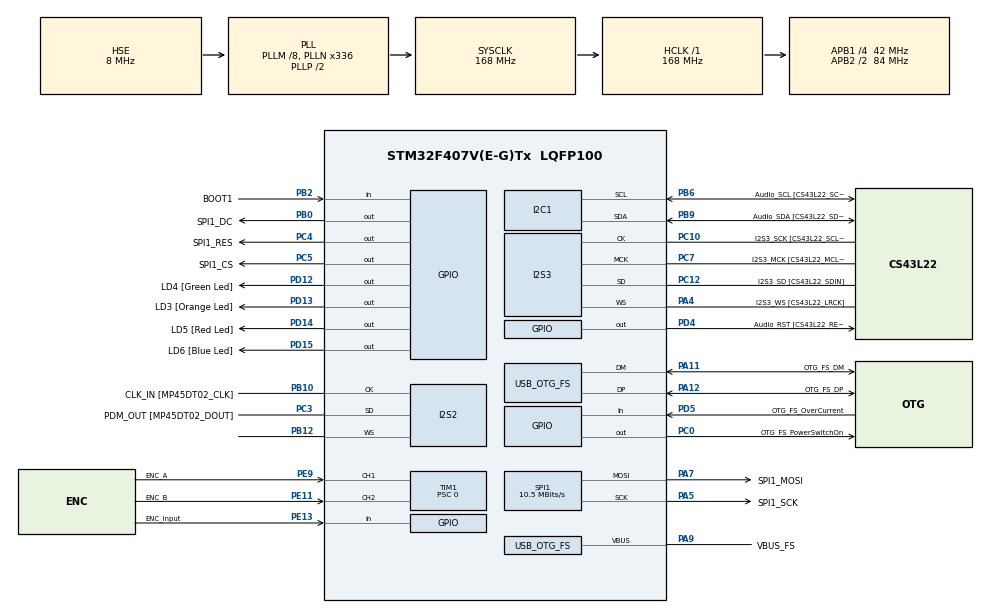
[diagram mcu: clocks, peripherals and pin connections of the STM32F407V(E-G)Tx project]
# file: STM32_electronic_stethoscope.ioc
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Dma.Request0=SPI2_RX
Dma.Request1=SPI3_TX
Dma.SPI2_RX.0.Direction=DMA_PERIPH_TO_MEMORY
Dma.SPI2_RX.0.FIFOMode=DMA_FIFOMODE_DISABLE
Dma.SPI2_RX.0.Instance=DMA1_Stream3
Dma.SPI2_RX.0.MemDataAlignment=DMA_MDATAALIGN_HALFWORD
Dma.SPI2_RX.0.MemInc=DMA_MINC_ENABLE
Dma.SPI2_RX.0.Mode=DMA_CIRCULAR
Dma.SPI2_RX.0.PeriphDataAlignment=DMA_PDATAALIGN_HALFWORD
Dma.SPI2_RX.0.PeriphInc=DMA_PINC_DISABLE
Dma.SPI2_RX.0.Priority=DMA_PRIORITY_VERY_HIGH
Dma.SPI3_TX.1.Direction=DMA_MEMORY_TO_PERIPH
Dma.SPI3_TX.1.FIFOMode=DMA_FIFOMODE_DISABLE
Dma.SPI3_TX.1.Instance=DMA1_Stream5
Dma.SPI3_TX.1.MemDataAlignment=DMA_MDATAALIGN_HALFWORD
Dma.SPI3_TX.1.MemInc=DMA_MINC_ENABLE
Dma.SPI3_TX.1.Mode=DMA_CIRCULAR
Dma.SPI3_TX.1.PeriphDataAlignment=DMA_PDATAALIGN_HALFWORD
Dma.SPI3_TX.1.PeriphInc=DMA_PINC_DISABLE
Dma.SPI3_TX.1.Priority=DMA_PRIORITY_HIGH
FATFS._FS_EXFAT=1
FATFS._MAX_SS=4096
FATFS._USE_LFN=1
I2S2.AudioFreq=I2S_AUDIOFREQ_32K
I2S2.CPOL=I2S_CPOL_HIGH
I2S2.DataFormat=I2S_DATAFORMAT_16B
I2S2.ErrorAudioFreq=-0.26 %
I2S2.FullDuplexMode=I2S_FULLDUPLEXMODE_DISABLE
I2S2.Instance=SPI$Index
I2S2.Mode=I2S_MODE_MASTER_RX
I2S2.RealAudioFreq=31.914 KHz
I2S2.Standard=I2S_STANDARD_LSB
I2S2.VirtualMode=I2S_MODE_MASTER
I2S3.AudioFreq=I2S_AUDIOFREQ_16K
I2S3.DataFormat=I2S_DATAFORMAT_16B
I2S3.ErrorAudioFreq=1.9 %
I2S3.FullDuplexMode=I2S_FULLDUPLEXMODE_DISABLE
I2S3.Instance=SPI$Index
I2S3.RealAudioFreq=16.304 KHz
I2S3.VirtualMode=I2S_MODE_MASTER
Mcu.Family=STM32F4
Mcu.Name=STM32F407V(E-G)Tx
Mcu.Package=LQFP100
NVIC.DMA1_Stream3_IRQn=true\:0\:0\:false\:false\:true\:false\:true\:true
NVIC.DMA1_Stream5_IRQn=true\:0\:0\:false\:false\:true\:false\:true\:true
NVIC.OTG_FS_IRQn=true\:0\:0\:false\:false\:true\:true\:true\:true
NVIC.PriorityGroup=NVIC_PRIORITYGROUP_0
PA10.GPIO_Label=OTG_FS_ID
PA10.GPIO_Mode=GPIO_MODE_AF_PP
PA10.GPIO_PuPd=GPIO_NOPULL
PA10.GPIO_Speed=GPIO_SPEED_FREQ_LOW
PA10.Signal=USB_OTG_FS_ID
PA11.GPIO_Label=OTG_FS_DM
PA11.GPIO_Mode=GPIO_MODE_AF_PP
PA11.GPIO_PuPd=GPIO_NOPULL
PA11.GPIO_Speed=GPIO_SPEED_FREQ_LOW
PA11.Mode=Host_Only
PA11.Signal=USB_OTG_FS_DM
PA12.GPIO_Label=OTG_FS_DP
PA12.GPIO_Mode=GPIO_MODE_AF_PP
PA12.GPIO_PuPd=GPIO_NOPULL
PA12.GPIO_Speed=GPIO_SPEED_FREQ_LOW
PA12.Mode=Host_Only
PA12.Signal=USB_OTG_FS_DP
PA13.GPIO_Label=SWDIO
PA13.Mode=Serial_Wire
PA13.Signal=SYS_JTMS-SWDIO
PA14.GPIO_Label=SWCLK
PA14.Mode=Serial_Wire
PA14.Signal=SYS_JTCK-SWCLK
PA4.GPIO_Label=I2S3_WS [CS43L22_LRCK]
PA4.GPIO_Mode=GPIO_MODE_AF_PP
PA4.GPIO_PuPd=GPIO_NOPULL
PA4.GPIO_Speed=GPIO_SPEED_FREQ_LOW
PA4.Mode=Half_Duplex_Master
PA4.Signal=I2S3_WS
PA5.GPIO_Label=SPI1_SCK 
PA5.GPIO_Mode=GPIO_MODE_AF_PP
PA5.GPIO_PuPd=GPIO_NOPULL
PA5.GPIO_Speed=GPIO_SPEED_FREQ_HIGH
PA5.Mode=TX_Only_Simplex_Unidirect_Master
PA5.Signal=SPI1_SCK
PA6.GPIO_Label=SPI1_MISO 
PA6.GPIO_Mode=GPIO_MODE_AF_PP
PA6.GPIO_PuPd=GPIO_NOPULL
PA6.GPIO_Speed=GPIO_SPEED_FREQ_HIGH
PA6.Signal=SPI1_MISO
PA7.GPIO_Label=SPI1_MOSI 
PA7.GPIO_Mode=GPIO_MODE_AF_PP
PA7.GPIO_PuPd=GPIO_NOPULL
PA7.GPIO_Speed=GPIO_SPEED_FREQ_HIGH
PA7.Mode=TX_Only_Simplex_Unidirect_Master
PA7.Signal=SPI1_MOSI
PA9.GPIO_Label=VBUS_FS
PA9.GPIO_Mode=GPIO_MODE_INPUT
PA9.GPIO_PuPd=GPIO_NOPULL
PA9.Mode=Activate_VBUS
PA9.Signal=USB_OTG_FS_VBUS
PB0.GPIO_Label=SPI1_DC
PB0.Signal=GPIO_Output
PB10.GPIO_Label=CLK_IN [MP45DT02_CLK]
PB10.GPIO_Mode=GPIO_MODE_AF_PP
PB10.GPIO_PuPd=GPIO_NOPULL
PB10.GPIO_Speed=GPIO_SPEED_FREQ_HIGH
PB10.Mode=Half_Duplex_Master
PB10.Signal=I2S2_CK
PB12.GPIO_Speed=GPIO_SPEED_FREQ_HIGH
PB12.Mode=Half_Duplex_Master
PB12.Signal=I2S2_WS
PB2.GPIO_Label=BOOT1
PB2.GPIO_Mode=GPIO_MODE_INPUT
PB2.GPIO_PuPd=GPIO_NOPULL
PB2.Signal=GPIO_Input
PB3.GPIO_Label=SWO
PB3.Signal=SYS_JTDO-SWO
PB6.GPIO_Label=Audio_SCL [CS43L22_SCL]
PB6.GPIO_Mode=GPIO_MODE_AF_OD
PB6.GPIO_Pu=GPIO_PULLUP
PB6.GPIO_PuPd=GPIO_NOPULL
PB6.GPIO_Speed=GPIO_SPEED_FREQ_LOW
PB6.Mode=I2C
PB6.Signal=I2C1_SCL
PB9.GPIO_Label=Audio_SDA [CS43L22_SDA]
PB9.GPIO_Mode=GPIO_MODE_AF_OD
PB9.GPIO_Pu=GPIO_PULLUP
PB9.GPIO_PuPd=GPIO_NOPULL
PB9.GPIO_Speed=GPIO_SPEED_FREQ_LOW
PB9.Mode=I2C
PB9.Signal=I2C1_SDA
PC0.GPIO_Label=OTG_FS_PowerSwitchOn
PC0.GPIO_PuPd=GPIO_NOPULL
PC0.GPIO_Speed=GPIO_SPEED_FREQ_LOW
PC0.PinState=GPIO_PIN_RESET
PC0.Signal=GPIO_Output
PC10.GPIO_Label=I2S3_SCK [CS43L22_SCLK]
PC10.GPIO_Mode=GPIO_MODE_AF_PP
PC10.GPIO_PuPd=GPIO_NOPULL
PC10.GPIO_Speed=GPIO_SPEED_FREQ_LOW
PC10.Mode=Half_Duplex_Master
PC10.Signal=I2S3_CK
PC12.GPIO_Label=I2S3_SD [CS43L22_SDIN]
PC12.GPIO_Mode=GPIO_MODE_AF_PP
PC12.GPIO_PuPd=GPIO_NOPULL
PC12.GPIO_Speed=GPIO_SPEED_FREQ_LOW
PC12.Mode=Half_Duplex_Master
PC12.Signal=I2S3_SD
PC14-OSC32_IN.GPIO_Label=PC14-OSC32_IN
PC14-OSC32_IN.Mode=LSE-External-Oscillator
PC14-OSC32_IN.Signal=RCC_OSC32_IN
PC15-OSC32_OUT.GPIO_Label=PC15-OSC32_OUT
PC15-OSC32_OUT.Mode=LSE-External-Oscillator
PC15-OSC32_OUT.Signal=RCC_OSC32_OUT
PC3.GPIO_Label=PDM_OUT [MP45DT02_DOUT]
PC3.GPIO_Mode=GPIO_MODE_AF_PP
PC3.GPIO_PuPd=GPIO_NOPULL
PC3.GPIO_Speed=GPIO_SPEED_FREQ_HIGH
PC3.Mode=Half_Duplex_Master
PC3.Signal=I2S2_SD
PC4.GPIO_Label=SPI1_RES
PC4.Signal=GPIO_Output
PC5.GPIO_Label=SPI1_CS
PC5.Signal=GPIO_Output
PC7.GPIO_Label=I2S3_MCK [CS43L22_MCLK]
PC7.GPIO_Mode=GPIO_MODE_AF_PP
PC7.GPIO_PuPd=GPIO_NOPULL
PC7.GPIO_Speed=GPIO_SPEED_FREQ_LOW
PC7.Mode=Master_Clock_Activated
PC7.Signal=I2S3_MCK
PD12.GPIO_Label=LD4 [Green Led]
PD12.GPIO_PuPd=GPIO_NOPULL
PD12.GPIO_Speed=GPIO_SPEED_FREQ_LOW
PD12.Signal=GPIO_Output
PD13.GPIO_Label=LD3 [Orange Led]
PD13.GPIO_PuPd=GPIO_NOPULL
PD13.GPIO_Speed=GPIO_SPEED_FREQ_LOW
PD13.Signal=GPIO_Output
PD14.GPIO_Label=LD5 [Red Led]
PD14.GPIO_PuPd=GPIO_NOPULL
PD14.GPIO_Speed=GPIO_SPEED_FREQ_LOW
PD14.Signal=GPIO_Output
PD15.GPIO_Label=LD6 [Blue Led]
PD15.GPIO_PuPd=GPIO_NOPULL
PD15.GPIO_Speed=GPIO_SPEED_FREQ_LOW
PD15.Signal=GPIO_Output
PD4.GPIO_Label=Audio_RST [CS43L22_RESET]
PD4.GPIO_PuPd=GPIO_NOPULL
PD4.GPIO_Speed=GPIO_SPEED_FREQ_LOW
PD4.Signal=GPIO_Output
PD5.GPIO_Label=OTG_FS_OverCurrent
PD5.GPIO_Mode=GPIO_MODE_INPUT
PD5.GPIO_PuPd=GPIO_NOPULL
PD5.Signal=GPIO_Input
PDM2PCM.CHANNEL1_in_ptr_channels=1
PDM2PCM.CHANNEL1_out_ptr_channels=1
PE11.GPIO_Label=ENC_B
PE11.Signal=S_TIM1_CH2
PE13.GPIO_Label=ENC_Input
PE13.Signal=GPIO_Input
PE9.GPIO_Label=ENC_A
PE9.Signal=S_TIM1_CH1
PH0-OSC_IN.GPIO_Label=PH0-OSC_IN
PH0-OSC_IN.Mode=HSE-External-Oscillator
PH0-OSC_IN.Signal=RCC_OSC_IN
PH1-OSC_OUT.GPIO_Label=PH1-OSC_OUT
PH1-OSC_OUT.Mode=HSE-External-Oscillator
PH1-OSC_OUT.Signal=RCC_OSC_OUT
ProjectManager.HeapSize=0x400
ProjectManager.StackSize=0x800
ProjectManager.TargetToolchain=STM32CubeIDE
RCC.48MHZClocksFreq_Value=48000000
RCC.AHBFreq_Value=168000000
RCC.APB1CLKDivider=RCC_HCLK_DIV4
RCC.APB1Freq_Value=42000000
RCC.APB1TimFreq_Value=84000000
RCC.APB2CLKDivider=RCC_HCLK_DIV2
RCC.APB2Freq_Value=84000000
RCC.APB2TimFreq_Value=168000000
RCC.CortexFreq_Value=168000000
RCC.HCLKFreq_Value=168000000
RCC.HSE_VALUE=8000000
RCC.HSI_VALUE=16000000
RCC.PLLM=8
RCC.PLLN=336
RCC.PLLQ=7
RCC.SYSCLKFreq_VALUE=168000000
RCC.SYSCLKSource=RCC_SYSCLKSOURCE_PLLCLK
RCC.VCOOutputFreq_Value=336000000
SH.S_TIM1_CH1.0=TIM1_CH1,Encoder_Interface
SH.S_TIM1_CH2.0=TIM1_CH2,Encoder_Interface
SPI1.BaudRatePrescaler=SPI_BAUDRATEPRESCALER_8
SPI1.CalculateBaudRate=10.5 MBits/s
SPI1.Direction=SPI_DIRECTION_2LINES
SPI1.Mode=SPI_MODE_MASTER
SPI1.VirtualType=VM_MASTER
STMicroelectronics.X-CUBE-ALGOBUILD.1.3.0.LibraryCcDSPOoLibraryJjDSPOoLibrary=true
TIM1.AutoReloadPreload=TIM_AUTORELOAD_PRELOAD_ENABLE
TIM1.EncoderMode=TIM_ENCODERMODE_TI12
TIM1.IC1Filter=15
TIM1.IC2Filter=15
TIM1.Period=65535
TIM1.Prescaler=0
USB_HOST.BSP.number=1
USB_HOST.USBH_HandleTypeDef-MSC_FS=hUsbHostFS
USB_HOST.VirtualModeFS=Msc
USB_HOST0.BSP.STBoard=false
USB_HOST0.BSP.api=Unknown
USB_HOST0.BSP.instance=PC0
USB_HOST0.BSP.ip=GPIO
USB_HOST0.BSP.mode=Output
USB_HOST0.BSP.name=Drive_VBUS_FS
USB_HOST0.BSP.solution=PC0
USB_OTG_FS.VirtualMode=Host_Only
USB_OTG_FS.phy_itface=HCD_PHY_EMBEDDED
VP_CRC_VS_CRC.Mode=CRC_Activate
VP_FATFS_VS_USB.Mode=USB
VP_PDM2PCM_VS_PDM2PCM.Mode=PDM2PCM_Channel
VP_STMicroelectronics.X-CUBE-ALGOBUILD_VS_DSPOoLibraryJjLibrary_1.3.0_1.3.0.Mode=DSPOoLibraryJjLibrary
VP_USB_HOST_VS_USB_HOST_MSC_FS.Mode=MSC_FS
board=STM32F407G-DISC1

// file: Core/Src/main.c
/* USER CODE BEGIN Header */
/**
  ******************************************************************************
  * @file           : main.c
  * @brief          : Main program body
  ******************************************************************************
  * @attention
  *
  * Copyright (c) 2023 STMicroelectronics.
  * All rights reserved.
  *
  * This software is licensed under terms that can be found in the LICENSE file
  * in the root directory of this software component.
  * If no LICENSE file comes with this software, it is provided AS-IS.
  *
  ******************************************************************************
  */
/* USER CODE END Header */
#include "main.h"
#include "crc.h"
#include "dma.h"
#include "fatfs.h"
#include "i2c.h"
#include "i2s.h"
#include "pdm2pcm.h"
#include "spi.h"
#include "tim.h"
#include "usb_host.h"
#include "gpio.h"

/* USER CODE BEGIN Includes */
#include <stdbool.h>
#include "MY_CS43L22.h"
#include "ili9341.h"
#include "arm_math.h"
/* USER CODE END Includes */

/* USER CODE BEGIN PTD */

/* Possible screens */
typedef enum {
	MENU_SCREEN,
	FFT_SCREEN,
	SPECTROGRAM_SCREEN,
	NUMBER_OF_SCREENS
} screen;

/* Possible options in menu screen */
typedef enum {
	VOLUME_MENU_OPTION,
	SAVE_FILE_MENU_OPTION,
	FILE_NUMBER_MENU_OPTION,
	FREQ_RANGE_MENU_OPTION,
	MAG_RANGE_MENU_OPTION,
	FFT_MENU_OPTION,
	SPECTROGRAM_MENU_OPTION,
	NUMBER_OF_MENU_OPTIONS
} menu_option;

/* Structure of wave file */
typedef struct {
	uint32_t chunk_ID;       	/* Byte 0 */
	uint32_t file_size;      	/* Byte 4 */
	uint32_t file_format;    	/* Byte 8 */
	uint32_t sub_chunk1_ID;   	/* Byte 12 */
	uint32_t sub_chunk1_size;	/* Byte 16 */
	uint16_t audio_format;   	/* Byte 20 */
	uint16_t nbr_channels;   	/* Byte 22 */
	uint32_t sample_rate;    	/* Byte 24 */
	uint32_t byte_rate;      	/* Byte 28 */
	uint16_t block_align;    	/* Byte 32 */
	uint16_t bit_per_sample;  	/* Byte 34 */
	uint32_t sub_chunk2_ID;   	/* Byte 36 */
	uint32_t sub_Chunk2_size; 	/* Byte 40 */
} WAV;

/* Union containing values of options */
typedef union {
	struct values_struct {
		uint8_t current_volume;
		uint8_t save_file;
		uint8_t current_file_number;
		uint8_t current_freq_range;
		uint8_t current_mag_range;
	} values_struct;
	uint8_t values_array[5];
} option_values;

/* Union containing maximal values of options */
typedef union max_option_values {
	struct max_values_struct {
		uint8_t max_current_volume;
		uint8_t max_save_file;
		uint8_t	max_current_file_number;
		uint8_t max_current_freq_range;
		uint8_t max_current_mag_range;
	} max_values_struct;
	uint8_t max_values_array[5];
};

/* USER CODE END PTD */

/* USER CODE BEGIN PD */
#define AUDIO_FS 				16000 						/* Sampling frequency */
#define RX_BUFFER_SIZE 			128 						/* Length of audio receive buffer */
#define TX_BUFFER_SIZE 			2048						/* Length of audio transmit buffer */
#define MONO_MID_BUFFER_SIZE 	16 							/* Length of mono audio buffer after decimation */
#define STEREO_MID_BUFFER_SIZE	MONO_MID_BUFFER_SIZE * 2	/* Length of stereo audio buffer after decimation */
#define FFT_BUFFER_SIZE 		TX_BUFFER_SIZE / 2 			/* Length of FFT buffer */
#define FFT_MAG_BUFFER_SIZE 	FFT_BUFFER_SIZE / 2 		/* Length of buffer containing magnitude of FFT*/
#define REC_FILE_NAME 			"rec"						/* Name of saved wave file */
#define REC_FILE_EXT			".wav"						/* Extension of wave file */
/* USER CODE END PD */

/* USER CODE BEGIN PV */

/* Bitmap of arrow image */
const uint16_t arrow_img[7][9] = {
		{0x0000, 0x0000, 0x0000, 0x0000, 0x0000, 0xFFFF, 0x0000, 0x0000, 0x0000},
		{0x0000, 0x0000, 0x0000, 0x0000, 0x0000, 0xFFFF, 0xFFFF, 0x0000, 0x0000},
		{0x0000, 0x0000, 0x0000, 0x0000, 0x0000, 0xFFFF, 0xFFFF, 0xFFFF, 0x0000},
		{0xFFFF, 0xFFFF, 0xFFFF, 0xFFFF, 0x0000, 0xFFFF, 0xFFFF, 0xFFFF, 0xFFFF},
		{0x0000, 0x0000, 0x0000, 0x0000, 0x0000, 0xFFFF, 0xFFFF, 0xFFFF, 0x0000},
		{0x0000, 0x0000, 0x0000, 0x0000, 0x0000, 0xFFFF, 0xFFFF, 0x0000, 0x0000},
		{0x0000, 0x0000, 0x0000, 0x0000, 0x0000, 0xFFFF, 0x0000, 0x0000, 0x0000}
};

/* Possible options values */
const uint16_t freq_ranges[] = {500, 1000, 2000, 4000, 8000};
const uint8_t mag_ranges[] = {60, 80, 120, 240};

/* Possible arrow positions */
const uint8_t arrow_positions[] = {20, 50, 80, 110, 140, 190, 220};

/* Current option values */
option_values current_option_values = {
		80,
		FALSE,
		0,
		4,
		3
};

/* Maximal possible option values */
const uint8_t max_option_values[] = {
		100,
		1,
		99,
		sizeof(freq_ranges) / sizeof(freq_ranges[0]) - 1,
		sizeof(mag_ranges) / sizeof(mag_ranges[0]) - 1
};

screen current_screen = MENU_SCREEN; 				/* Current screen */
menu_option current_option = VOLUME_MENU_OPTION;	/* Current option */

bool display_menu_flag = TRUE;						/* Flag indicating if screen should return to menu */
bool reset_counter_flag = FALSE;					/* Flag indicating if encoder's counter variable should be reseted */
bool flag_audio_data_ready;							/* Flag indicating if data is ready */
bool flag_audio_file_save;							/* Flag indicating if file should be saved */

int16_t rx_buff[RX_BUFFER_SIZE]; 					/* Receive buffer */
int16_t tx_buff[TX_BUFFER_SIZE]; 					/* Transmit buffer */
int16_t stereo_mid_buff[STEREO_MID_BUFFER_SIZE];	/* Stereo buffer after decimation */
int16_t  fft_prev_db_buff[ILI9341_WIDTH];			/* Previously calculated FFT buffer */
uint16_t callback_counter;							/* Counter of callback */
uint32_t audio_buff_offset;							/* Offset of audio buffer */

WAV		wave_format; 								/* Structure containing bytes of recorded WAV file */
FIL    	wave_file; 									/* Structure containing file object */
FATFS  	usb_fatfs; 									/* Structure containing file system object */

uint8_t  file_num = 0;								/* Number of file currently saved */
uint8_t  wave_header[44];							/* Header of wave file */
uint32_t bytes_recorded;							/* Number of bytes written at one time */
uint32_t total_bytes;								/* Total bytes written */
char     usbh_path[4];								/* Logical drive number to be mounted/unmounted */
char 	 file_name[10];								/* Wave file name */

arm_rfft_fast_instance_f32 fft_audio_instance;		/* Instance FFT structure */

/* USER CODE END PV */

void SystemClock_Config(void);
void PeriphCommonClock_Config(void);
void MX_USB_HOST_Process(void);

/* USER CODE BEGIN PFP */

void pdm_to_pcm(int16_t *rx_buff, int16_t *stereo_mid_buff);
void display_menu(uint8_t current_option_values[]);
void change_option(menu_option *current_option, bool reset_counter_flag);
void change_value_of_option(menu_option current_option, uint8_t *current_option_values, const uint8_t max_option_values[], bool reset_counter_flag);
void display_option(menu_option current_option, int8_t pos);
void draw_frame(uint16_t x, uint16_t y, uint16_t w, uint16_t h, uint16_t color);
void create_file_name(uint8_t file_number);
void start_recording(void);
void end_recording(void);
void fft_start(void);
void fft_compute(int16_t *tx_buff, float32_t *fft_mag_buff);
void fft_display(void);
void spectrogram_start(void);
void spectrogram_display(uint8_t line_counter);
void display_freq_range(uint16_t freq_range);
void display_mag_range(uint16_t mag_range);
void calc_scale(uint8_t freq_range, uint16_t *i, uint16_t *j);
void hsv_to_rgb(uint16_t h, uint8_t s, uint8_t v, uint16_t *R, uint16_t *G, uint16_t *B);
uint32_t wave_process_header_init(uint8_t *p_header, WAV *p_wave_format);
uint32_t wave_process_enc_init(uint32_t freq, uint8_t *p_header);
uint32_t wave_process_header_update(uint8_t *p_header, uint32_t total_bytes);

/* USER CODE END PFP */

int main(void)
{

  /* MCU Configuration--------------------------------------------------------*/

  /* Reset of all peripherals, Initializes the Flash interface and the Systick. */
  HAL_Init();

  /* Configure the system clock */
  SystemClock_Config();

/* Configure the peripherals common clocks */
  PeriphCommonClock_Config();

  /* Initialize all configured peripherals */
  MX_GPIO_Init();
  MX_DMA_Init();
  MX_I2C1_Init();
  MX_SPI1_Init();
  MX_USB_HOST_Init();
  MX_I2S2_Init();
  MX_CRC_Init();
  MX_FATFS_Init();
  MX_I2S3_Init();
  MX_TIM1_Init();
  MX_PDM2PCM_Init();
  /* USER CODE BEGIN 2 */

  /* DAC initialize */
  CS43_Init(hi2c1, MODE_I2S);
  CS43_Enable_RightLeft(CS43_RIGHT_LEFT);
  CS43_Stop();

  /* Display driver initialize */
  ILI9341_Init();
  ILI9341_FillScreen(ILI9341_BLACK);

  /* Encoder's timer initialize */
  HAL_TIM_Encoder_Start(&htim1, TIM_CHANNEL_ALL);

  /* DMA initialize */
  HAL_I2S_Receive_DMA(&hi2s2, (uint16_t*)rx_buff, RX_BUFFER_SIZE);
  HAL_I2S_Transmit_DMA(&hi2s3, (uint16_t*)tx_buff, TX_BUFFER_SIZE);

  /* USB power supply */
  MX_DriverVbusFS(0);

  /* FFT initialize */
  arm_rfft_fast_init_f32(&fft_audio_instance, FFT_BUFFER_SIZE);

  /* USER CODE END 2 */

  /* Infinite loop */
  /* USER CODE BEGIN WHILE */
  while (1)
  {
	  /* Load menu screen only at the start and when FFT or spectrogram is closed */
	  if (current_screen == MENU_SCREEN && display_menu_flag) {
		  display_menu(current_option_values.values_array);
		  display_menu_flag = FALSE;
	  }

	  /* If encoder is rotated move arrow and change current option */
	  change_option(&current_option, reset_counter_flag);

	  /* Counter of "change_option" should be reseted only when program
	     returns from changing options values or executing tasks */
	  reset_counter_flag = FALSE;

	  /* If encoder button is pressed */
	  if (!HAL_GPIO_ReadPin(ENC_Input_GPIO_Port, ENC_Input_Pin)) {
		  /* Wait until encoder's button is released */
		  while (!HAL_GPIO_ReadPin(ENC_Input_GPIO_Port, ENC_Input_Pin))
			  ;

		  /* If user wants to change option values */
		  if (current_option < FFT_MENU_OPTION) {
			  draw_frame(120, arrow_positions[current_option] - 8, 190 , arrow_positions[current_option] + 13, ILI9341_WHITE);
		  }

		  /* Encoder's counter value should be reseted */
		  reset_counter_flag = TRUE;

		  /* While encoder's button is not pressed again and menu flag is not set */
		  while (!display_menu_flag && HAL_GPIO_ReadPin(ENC_Input_GPIO_Port, ENC_Input_Pin)) {
			  /* If user wants to change option values */
			  if (current_option < FFT_MENU_OPTION) {
				  change_value_of_option(current_option, current_option_values.values_array, max_option_values, reset_counter_flag);
				  reset_counter_flag = FALSE;
			  } else if (current_option == FFT_MENU_OPTION) {
				  /* If user wants to execute FFT */
				  fft_start();
				  display_menu_flag = TRUE;
			  } else if (current_option == SPECTROGRAM_MENU_OPTION) {
				  /* If user wants to execute spectrogram */
		  		  spectrogram_start();
				  display_menu_flag = TRUE;
			  }
		  }

		  if (current_option < FFT_MENU_OPTION) {
			  /* Draw black border to remove white one */
			  draw_frame(120, arrow_positions[current_option] - 8, 190 , arrow_positions[current_option] + 13, ILI9341_BLACK);
		  } else {
			  /* Change values to return to menu screen */
			  current_option = VOLUME_MENU_OPTION;
			  current_screen = MENU_SCREEN;
		  }

		  /* Counter of "change_option" should be reseted when returning to menu screen */
		  reset_counter_flag = TRUE;

		  /* Wait until encoder's button is released */
		  while (!HAL_GPIO_ReadPin(ENC_Input_GPIO_Port, ENC_Input_Pin))
			  ;
	  }
    /* USER CODE END WHILE */
    MX_USB_HOST_Process();

  }
}

void SystemClock_Config(void)
{
  RCC_OscInitTypeDef RCC_OscInitStruct = {0};
  RCC_ClkInitTypeDef RCC_ClkInitStruct = {0};

  /** Configure the main internal regulator output voltage
  */
  __HAL_RCC_PWR_CLK_ENABLE();
  __HAL_PWR_VOLTAGESCALING_CONFIG(PWR_REGULATOR_VOLTAGE_SCALE1);

  /** Initializes the RCC Oscillators according to the specified parameters
  * in the RCC_OscInitTypeDef structure.
  */
  RCC_OscInitStruct.OscillatorType = RCC_OSCILLATORTYPE_HSE;
  RCC_OscInitStruct.HSEState = RCC_HSE_ON;
  RCC_OscInitStruct.PLL.PLLState = RCC_PLL_ON;
  RCC_OscInitStruct.PLL.PLLSource = RCC_PLLSOURCE_HSE;
  RCC_OscInitStruct.PLL.PLLM = 8;
  RCC_OscInitStruct.PLL.PLLN = 336;
  RCC_OscInitStruct.PLL.PLLP = RCC_PLLP_DIV2;
  RCC_OscInitStruct.PLL.PLLQ = 7;
  if (HAL_RCC_OscConfig(&RCC_OscInitStruct) != HAL_OK)
  {
    Error_Handler();
  }

  /** Initializes the CPU, AHB and APB buses clocks
  */
  RCC_ClkInitStruct.ClockType = RCC_CLOCKTYPE_HCLK|RCC_CLOCKTYPE_SYSCLK
                              |RCC_CLOCKTYPE_PCLK1|RCC_CLOCKTYPE_PCLK2;
  RCC_ClkInitStruct.SYSCLKSource = RCC_SYSCLKSOURCE_PLLCLK;
  RCC_ClkInitStruct.AHBCLKDivider = RCC_SYSCLK_DIV1;
  RCC_ClkInitStruct.APB1CLKDivider = RCC_HCLK_DIV4;
  RCC_ClkInitStruct.APB2CLKDivider = RCC_HCLK_DIV2;

  if (HAL_RCC_ClockConfig(&RCC_ClkInitStruct, FLASH_LATENCY_5) != HAL_OK)
  {
    Error_Handler();
  }
}

void PeriphCommonClock_Config(void)
{
  RCC_PeriphCLKInitTypeDef PeriphClkInitStruct = {0};

  /** Initializes the peripherals clock
  */
  PeriphClkInitStruct.PeriphClockSelection = RCC_PERIPHCLK_I2S;
  PeriphClkInitStruct.PLLI2S.PLLI2SN = 192;
  PeriphClkInitStruct.PLLI2S.PLLI2SR = 2;
  if (HAL_RCCEx_PeriphCLKConfig(&PeriphClkInitStruct) != HAL_OK)
  {
    Error_Handler();
  }
}

/* USER CODE BEGIN 4 */

/**
  * @brief  Manage the DMA half transfer complete interrupt from receiving channel
  * @param  hi2s: I2S handler
  * @retval None
  */
void HAL_I2S_RxHalfCpltCallback(I2S_HandleTypeDef *hi2s) {
	/* Only when the interrupt is triggered by I2S connected to the microphone */
	if (hi2s->Instance == SPI2) {
		/* Convert PDM sound to PCM sound */
		pdm_to_pcm(rx_buff, stereo_mid_buff);

		/* Copy converted data to transmit buffer */
		memcpy(&tx_buff[callback_counter * (STEREO_MID_BUFFER_SIZE)], stereo_mid_buff, STEREO_MID_BUFFER_SIZE * 2);

		/* If there is enough data set flag and offset */
		if (callback_counter == (TX_BUFFER_SIZE / (STEREO_MID_BUFFER_SIZE * 2)) - 1) {
			flag_audio_data_ready = TRUE;
			audio_buff_offset = 0;
			callback_counter++;
		} else if (callback_counter == (TX_BUFFER_SIZE / (STEREO_MID_BUFFER_SIZE)) - 1) {
			flag_audio_data_ready = TRUE;
			audio_buff_offset = TX_BUFFER_SIZE / 2;
			callback_counter = 0;
		} else {
			callback_counter++;
		}
	}
}

/**
  * @brief  Manage the DMA full transfer complete interrupt from receiving channel
  * @param  hi2s: I2S handler
  * @retval None
  */
void HAL_I2S_RxCpltCallback(I2S_HandleTypeDef *hi2s) {
	/* Only when the interrupt is triggered by I2S connected to the microphone */
	if (hi2s->Instance == SPI2) {
		/* Convert PDM sound to PCM sound */
		pdm_to_pcm(&rx_buff[RX_BUFFER_SIZE / 2], stereo_mid_buff);

		/* Copy converted data to transmit buffer */
		memcpy(&tx_buff[callback_counter * (STEREO_MID_BUFFER_SIZE)], stereo_mid_buff, STEREO_MID_BUFFER_SIZE * 2);

		/* If there is enough data set flag and offset */
		if (callback_counter == (TX_BUFFER_SIZE / (STEREO_MID_BUFFER_SIZE * 2)) - 1) {
			flag_audio_data_ready = TRUE;
			audio_buff_offset = 0;
			callback_counter++;
		} else if (callback_counter == (TX_BUFFER_SIZE / (STEREO_MID_BUFFER_SIZE)) - 1) {
			flag_audio_data_ready = TRUE;
			audio_buff_offset = TX_BUFFER_SIZE / 2;
			callback_counter = 0;
		} else {
			callback_counter++;
		}
	}
}

/**
  * @brief       Converts audio format from PDM to PCM
  * @param[in]   rx_buff: Received PDM data buffer
  * @param[out]  stereo_mid_buff: Converted PCM data buffer
  * @retval      None
  */
void pdm_to_pcm(int16_t* rx_buff, int16_t* stereo_mid_buff) {
	/* One channel (mono) buffer */
	uint16_t mono_mid_buff[MONO_MID_BUFFER_SIZE];

	/* PDM to PCM filter */
	PDM_Filter((int8_t*)&rx_buff[0], (int16_t*)&mono_mid_buff[0], &PDM1_filter_handler);

	/* Duplicate samples to create 2 channel (stereo) sound */
	for (uint8_t i = 0; i < MONO_MID_BUFFER_SIZE; i++) {
		stereo_mid_buff[i * 2] = mono_mid_buff[i];
		stereo_mid_buff[i * 2 + 1] = mono_mid_buff[i];
	}
}

/**
  * @brief  Display current values of options
  * @param  current_option_values: Array from which the values are displayed
  * @retval None
  */
void display_menu(uint8_t current_option_values[]) {
	/* Buffers to store string option values */
	char s_volume[3];
	char s_freq_range[4];
	char s_mag_range[3];
	char s_file_number[4];

	/* Display volume value */
	itoa((int)current_option_values[VOLUME_MENU_OPTION], s_volume, 10);
	ILI9341_WriteString(30, arrow_positions[VOLUME_MENU_OPTION], "VOLUME", Font_7x10, ILI9341_WHITE, ILI9341_BLACK);
	ILI9341_WriteString(130, arrow_positions[VOLUME_MENU_OPTION], s_volume, Font_7x10, ILI9341_WHITE, ILI9341_BLACK);
	ILI9341_WriteString(145, arrow_positions[VOLUME_MENU_OPTION], " %", Font_7x10, ILI9341_WHITE, ILI9341_BLACK);

	/* Display whether file should be saved */
	ILI9341_WriteString(30, arrow_positions[SAVE_FILE_MENU_OPTION], "SAVE FILE", Font_7x10, ILI9341_WHITE, ILI9341_BLACK);
	if (current_option_values[SAVE_FILE_MENU_OPTION]) {
		ILI9341_WriteString(130, arrow_positions[SAVE_FILE_MENU_OPTION], "YES", Font_7x10, ILI9341_GREEN, ILI9341_BLACK);
	} else {
		ILI9341_WriteString(130, arrow_positions[SAVE_FILE_MENU_OPTION], "NO", Font_7x10, ILI9341_RED, ILI9341_BLACK);
	}

	/* Display current file number */
	sprintf(s_file_number, "%02d", current_option_values[FILE_NUMBER_MENU_OPTION]);
	ILI9341_WriteString(30, arrow_positions[FILE_NUMBER_MENU_OPTION], "FILE NUMBER", Font_7x10, ILI9341_WHITE, ILI9341_BLACK);
	ILI9341_WriteString(130, arrow_positions[FILE_NUMBER_MENU_OPTION], s_file_number, Font_7x10, ILI9341_WHITE, ILI9341_BLACK);

	/* Display current frequency range */
	itoa(freq_ranges[current_option_values[FREQ_RANGE_MENU_OPTION]], s_freq_range, 10);
	ILI9341_WriteString(30, arrow_positions[FREQ_RANGE_MENU_OPTION], "FREQ RANGE", Font_7x10, ILI9341_WHITE, ILI9341_BLACK);
	ILI9341_WriteString(130, arrow_positions[FREQ_RANGE_MENU_OPTION], s_freq_range, Font_7x10, ILI9341_WHITE, ILI9341_BLACK);
	ILI9341_WriteString(160, arrow_positions[FREQ_RANGE_MENU_OPTION], " Hz", Font_7x10, ILI9341_WHITE, ILI9341_BLACK);

	/* Display current magnitude range */
	itoa(mag_ranges[current_option_values[MAG_RANGE_MENU_OPTION]], s_mag_range, 10);
	ILI9341_WriteString(30, arrow_positions[MAG_RANGE_MENU_OPTION], "MAG RANGE", Font_7x10, ILI9341_WHITE, ILI9341_BLACK);
	ILI9341_WriteString(130, arrow_positions[MAG_RANGE_MENU_OPTION], s_mag_range, Font_7x10, ILI9341_WHITE, ILI9341_BLACK);
	ILI9341_WriteString(152, arrow_positions[MAG_RANGE_MENU_OPTION], " dB", Font_7x10, ILI9341_WHITE, ILI9341_BLACK);

	/* Display FFT and spectrogram words */
	ILI9341_WriteString(30, arrow_positions[FFT_MENU_OPTION], "FFT", Font_7x10, ILI9341_WHITE, ILI9341_BLACK);
	ILI9341_WriteString(30, arrow_positions[SPECTROGRAM_MENU_OPTION], "SPECTROGRAM", Font_7x10, ILI9341_WHITE, ILI9341_BLACK);

	/* Display arrow */
	ILI9341_DrawImage(10, arrow_positions[VOLUME_MENU_OPTION], 9, 7, arrow_img);
}

/**
  * @brief  Change current option and display arrow pointing to it
  * @param  current_option: Pointer to the option that will be changed
  * @param  reset_counter_flag: Flag indicating whether the counter should be reseted
  * @retval None
  */
void change_option(menu_option *current_option, bool reset_counter_flag) {
	/* Value of last enoder's timer tick */
	static uint16_t last_timer_counter = 0;

	/* "change_option" and "change_value_of_option" use the same encoder's timer, so
	   after one function is called the other one's counter should be set to timer's value */
	if (reset_counter_flag) {
		last_timer_counter = htim1.Instance->CNT;
	}

	/* Difference between current timer's value and previous one */
	int16_t timer_dif = htim1.Instance->CNT - last_timer_counter;

	/* One encoder impulse is equal 4 ticks of timer */
	/* If encoder is moved arrow position is changed */
	if (timer_dif >= 4 || timer_dif <= -4) {
		ILI9341_FillRectangle(10, arrow_positions[*current_option], 9, 7, ILI9341_BLACK);
		timer_dif /= 4;
		int8_t pos = *current_option - (int8_t)timer_dif;

		if (pos >= NUMBER_OF_MENU_OPTIONS) {
			pos = VOLUME_MENU_OPTION;
		} else if (pos < VOLUME_MENU_OPTION) {
			pos = SPECTROGRAM_MENU_OPTION;
		}

		*current_option = pos;

		ILI9341_DrawImage(10, arrow_positions[pos], 9, 7, arrow_img);
		last_timer_counter = htim1.Instance->CNT;
	}
}

/**
  * @brief  Change current value of option
  * @param  current_option: Current chosen option
  * @param  current_option_values: Pointer to array of current option values
  * @param  max_option_values: Array of maximal values of options
  * @param  reset_counter_flag: Flag indicating if encoder's counter variable should be reseted
  * @retval None
  */
void change_value_of_option(menu_option current_option, uint8_t *current_option_values, const uint8_t max_option_values[], bool reset_counter_flag) {
	/* Value of last enoder's timer tick */
	static uint16_t last_timer_counter = 0;

	/* "change_option" and "change_value_of_option" use the same encoder's timer, so
	   after one function is called the other one's counter should be set to timer's value */
	if (reset_counter_flag) {
		last_timer_counter = htim1.Instance->CNT;
	}

	/* Difference between current timer's value and previous one */
	int16_t timer_dif = htim1.Instance->CNT - last_timer_counter;

	/* One encoder impulse is equal 4 ticks of timer */
	/* If encoder is moved option value is changed */
	if (timer_dif >= 4 || timer_dif <= -4) {
		timer_dif /= 4;
		int8_t pos = current_option_values[current_option] - (int8_t)timer_dif;

		if (pos > max_option_values[current_option]) {
			pos = 0;
		} else if (pos < 0) {
			pos = max_option_values[current_option];
		}

		current_option_values[current_option] = pos;

		last_timer_counter = htim1.Instance->CNT;

		display_option(current_option, pos);
	}
}

/**
  * @brief  Display current value of option
  * @param  current_option: Current chosen option
  * @param  pos: Position (value) of option
  * @retval None
  */
void display_option(menu_option current_option, int8_t pos) {
	/* Depending on current option and position new value of option is displayed */
	switch (current_option) {
		case VOLUME_MENU_OPTION:
			char s_volume[3];
			itoa(pos, s_volume, 10);
			ILI9341_FillRectangle(130, arrow_positions[VOLUME_MENU_OPTION], 21, 10, ILI9341_BLACK);
			ILI9341_WriteString(130, arrow_positions[VOLUME_MENU_OPTION], s_volume, Font_7x10, ILI9341_WHITE, ILI9341_BLACK);
			break;
		case SAVE_FILE_MENU_OPTION:
			ILI9341_FillRectangle(130, arrow_positions[SAVE_FILE_MENU_OPTION], 21, 10, ILI9341_BLACK);
			if (pos == TRUE) {
				ILI9341_WriteString(130, arrow_positions[SAVE_FILE_MENU_OPTION], "YES", Font_7x10, ILI9341_GREEN, ILI9341_BLACK);
			} else if (pos == FALSE) {
				ILI9341_WriteString(130, arrow_positions[SAVE_FILE_MENU_OPTION], "NO", Font_7x10, ILI9341_RED, ILI9341_BLACK);
			} else {
				ILI9341_WriteString(130, arrow_positions[SAVE_FILE_MENU_OPTION], "ERROR", Font_7x10, ILI9341_WHITE, ILI9341_BLACK);
			}
			break;
		case FILE_NUMBER_MENU_OPTION:
			char s_file_number[4];
			sprintf(s_file_number, "%02d", pos);
			ILI9341_FillRectangle(130, arrow_positions[FILE_NUMBER_MENU_OPTION], 21, 10, ILI9341_BLACK);
			ILI9341_WriteString(130, arrow_positions[FILE_NUMBER_MENU_OPTION], s_file_number, Font_7x10, ILI9341_WHITE, ILI9341_BLACK);
			break;
		case FREQ_RANGE_MENU_OPTION:
			char s_freq_range[4];
			itoa(freq_ranges[pos], s_freq_range, 10);
			ILI9341_FillRectangle(130, arrow_positions[FREQ_RANGE_MENU_OPTION], 28, 10, ILI9341_BLACK);
			ILI9341_WriteString(130, arrow_positions[FREQ_RANGE_MENU_OPTION], s_freq_range, Font_7x10, ILI9341_WHITE, ILI9341_BLACK);
			break;
		case MAG_RANGE_MENU_OPTION:
			char s_mag_range[3];
			itoa(mag_ranges[pos], s_mag_range, 10);
			ILI9341_FillRectangle(130, arrow_positions[MAG_RANGE_MENU_OPTION], 21, 10, ILI9341_BLACK);
			ILI9341_WriteString(130, arrow_positions[MAG_RANGE_MENU_OPTION], s_mag_range, Font_7x10, ILI9341_WHITE, ILI9341_BLACK);
			break;
		default:
			break;
	}
}

/**
  * @brief  Display frame
  * @param  x: x coordinate
  * @param  y: y coordinate
  * @param  w: width of frame
  * @param  h: height of frame
  * @param  color: color of frame
  * @retval None
  */
void draw_frame(uint16_t x, uint16_t y, uint16_t w, uint16_t h, uint16_t color) {
	/* Draw frame */
	/* Used when the option is selected */
	for (uint16_t i = x; i <= w; i++) {
		for (uint16_t j = y; j <= h; j++) {
			if ((i == x || i == w) || (j == y || j == h)) {
				ILI9341_DrawPixel(i, j, color);
			}
		}
	}
}

/**
  * @brief  Creates file name
  * @retval None
  */
void create_file_name(uint8_t file_number) {
	sprintf(file_name, "%s%02d%s", REC_FILE_NAME, file_number, REC_FILE_EXT);

	/* Increment file number */
	current_option_values.values_struct.current_file_number++;
}

/**
  * @brief  Start recording audio to wave file
  * @retval None
  */
void start_recording(void) {
	create_file_name(current_option_values.values_struct.current_file_number);

	/* Mount USB stick */
	f_mount(&usb_fatfs, (TCHAR const*)usbh_path, 0);

	/* Remove file if it already exists */
	f_unlink(file_name);

	/* Open file */
	f_open(&wave_file, file_name, FA_CREATE_ALWAYS | FA_WRITE);

	/* Create header of wave file */
	wave_process_enc_init(AUDIO_FS, wave_header);
	f_write(&wave_file, wave_header, 44, (void*)&bytes_recorded);
	total_bytes = bytes_recorded;
}

/**
  * @brief  End recording audio to wave file
  * @retval None
  */
void end_recording(void) {
	/* Move read/write pointer to the beginning of file */
	f_lseek(&wave_file, 0);

	/* Update header of wave file */
	wave_process_header_update(wave_header, (uint32_t)&wave_format);
	f_write(&wave_file, wave_header, 44, (void*)&bytes_recorded);

	/* Close file */
	f_close (&wave_file);

	/* Unmount USB stick */
	f_mount(NULL, 0, 1);
}

/**
  * @brief  Start FFT
  * @retval None
  */
void fft_start(void) {
	current_screen = FFT_SCREEN;

	/* Clear screen */
	ILI9341_FillScreen(ILI9341_BLACK);

	/* Display frequency and magnitude range */
	display_freq_range(freq_ranges[current_option_values.values_struct.current_freq_range]);
	display_mag_range(mag_ranges[current_option_values.values_struct.current_mag_range]);

	if (current_option_values.values_struct.save_file) {
		start_recording();
	}

	HAL_GPIO_TogglePin(LD5_GPIO_Port, LD4_Pin);

	/* Start DAC */
	CS43_SetVolume(current_option_values.values_struct.current_volume);
	CS43_Start();

	/* While encoder's button is not pressed again */
	while (HAL_GPIO_ReadPin(ENC_Input_GPIO_Port, ENC_Input_Pin)) {
		/* If there is enough sound data */
		if (flag_audio_data_ready) {
			fft_display();
			if (current_option_values.values_struct.save_file) {
				f_write(&wave_file, (int8_t*)(tx_buff + audio_buff_offset), TX_BUFFER_SIZE, (void*)&bytes_recorded);
				total_bytes += bytes_recorded;
			}
			flag_audio_data_ready = FALSE;
		}
	}

	HAL_GPIO_TogglePin(LD5_GPIO_Port, LD4_Pin);

	if (current_option_values.values_struct.save_file) {
		end_recording();
	}

	/* Stop DAC */
	CS43_Stop();

	/* Clear screen */
	ILI9341_FillScreen(ILI9341_BLACK);
}

/**
  * @brief       Compute FFT on transmit buffer
  * @param[in]   tx_buff: Transmit buffer
  * @param[out]  fft_mag_buff: Output buffer of FFT magnitude
  * @retval      None
  */
void fft_compute(int16_t* tx_buff, float32_t* fft_mag_buff) {
	/* Sound buffer */
	float32_t float_tx_buff[FFT_BUFFER_SIZE];
	/* FFT buffer (real and imaginary part) */
	float32_t fft_out_buff[FFT_BUFFER_SIZE];

	float32_t hann_multiplier = 0;

	/* Convert sound from int32_t to float32_t */
	/* Hann window is applied to reduce spectral leakage */
	for (uint16_t i = 0; i < FFT_BUFFER_SIZE; i++) {
		hann_multiplier = 0.5 * (1 - cosf(2 * PI * i / (FFT_BUFFER_SIZE - 1)));
		float_tx_buff[i] = hann_multiplier * (float32_t)tx_buff[i];
	}

	/* Compute FFT */
	arm_rfft_fast_f32(&fft_audio_instance, float_tx_buff, fft_out_buff, 0);

	/* Calculate magnitude from real and imaginary part of FFT */
	arm_cmplx_mag_f32(fft_out_buff, fft_mag_buff, FFT_MAG_BUFFER_SIZE);
}

/**
  * @brief  Display FFT
  * @retval None
  */
void fft_display(void) {
	/* FFT magnitude buffers */
	float32_t fft_mag_buff[FFT_MAG_BUFFER_SIZE];
	int32_t fft_db_buff[FFT_MAG_BUFFER_SIZE];

	/* Compute FFT */
	fft_compute((int16_t*)(tx_buff + audio_buff_offset), fft_mag_buff);

	/* Loop values */
	uint16_t i = 0, j = 0;

	/* Calculate loop values */
	calc_scale(current_option_values.values_struct.current_freq_range, &i, &j);

	/* Scale displayed FFT depending on frequency and magnitude range */
	for (uint16_t len = 0; len < i; len++) {
		for (uint16_t current_val = 0; current_val < j; current_val++) {
			uint32_t index = len * j + current_val;

			fft_db_buff[index] = (int32_t)(20 * log10f(fft_mag_buff[len]));

			if (fft_prev_db_buff[index] != fft_db_buff[index]) {
				ILI9341_DrawPixel(index, 240 - (fft_prev_db_buff[index] * 240 / mag_ranges[current_option_values.values_struct.current_mag_range]), ILI9341_BLACK);
				ILI9341_DrawPixel(index, 240 - (fft_db_buff[index] * 240 / mag_ranges[current_option_values.values_struct.current_mag_range]), ILI9341_WHITE);
			}
			fft_prev_db_buff[index] = fft_db_buff[index];
		}
	}
}

/**
  * @brief  Start spectrogram
  * @retval None
  */
void spectrogram_start(void) {
	current_screen = SPECTROGRAM_SCREEN;

	/* Clear screen */
	ILI9341_FillScreen(ILI9341_BLACK);

	/* does not work here ???*/
	/* display_freq_range(); */

	char s_freq_range[4];
	itoa(freq_ranges[current_option_values.values_struct.current_freq_range], s_freq_range, 10);
	ILI9341_WriteString(270, arrow_positions[VOLUME_MENU_OPTION], "FREQ", Font_7x10, ILI9341_WHITE, ILI9341_BLACK);
	ILI9341_WriteString(270, arrow_positions[VOLUME_MENU_OPTION] + 12, "RANGE", Font_7x10, ILI9341_WHITE, ILI9341_BLACK);
	ILI9341_WriteString(270, arrow_positions[VOLUME_MENU_OPTION] + 24, s_freq_range, Font_7x10, ILI9341_WHITE, ILI9341_BLACK);
	ILI9341_WriteString(298, arrow_positions[VOLUME_MENU_OPTION] + 24, " Hz", Font_7x10, ILI9341_WHITE, ILI9341_BLACK);

	if (current_option_values.values_struct.save_file) {
		start_recording();
	}

	HAL_GPIO_TogglePin(LD5_GPIO_Port, LD4_Pin);

	/* Current horizontal line that should be displayed */
	uint8_t line_counter = 239;

	/* Start DAC */
	CS43_SetVolume(current_option_values.values_struct.current_volume);
	CS43_Start();

	while (HAL_GPIO_ReadPin(ENC_Input_GPIO_Port, ENC_Input_Pin)) {
		if (flag_audio_data_ready) {
			spectrogram_display(line_counter);
			line_counter--;

			if (line_counter > 239) {
				line_counter = 239;
			}
			if (current_option_values.values_struct.save_file) {
				f_write(&wave_file, (int8_t*)(tx_buff + audio_buff_offset), TX_BUFFER_SIZE, (void*)&bytes_recorded);
				total_bytes += bytes_recorded;
			}

			flag_audio_data_ready = FALSE;
		}
	}
	HAL_GPIO_TogglePin(LD5_GPIO_Port, LD4_Pin);

	if (current_option_values.values_struct.save_file) {
		end_recording();
	}

	/* Stop DAC */
	CS43_Stop();

	/* Clear Screen */
	ILI9341_FillScreen(ILI9341_BLACK);
}

/**
  * @brief  Display spectrogram
  * @param  line_counter: Spectrogram's line that should be displayed
  * @retval None
  */
void spectrogram_display(uint8_t line_counter) {
	/* FFT magnitude buffers */
	float32_t fft_mag_buff[FFT_MAG_BUFFER_SIZE];
	int32_t fft_db_buff[FFT_MAG_BUFFER_SIZE];

	/* Compute FFT */
	fft_compute((int16_t*)(tx_buff + audio_buff_offset), fft_mag_buff);

	/* RGB color values */
	uint16_t r, g, b;

	/* Loop values */
	uint16_t i = 0, j = 0;

	/* Calculate loop values */
	calc_scale(current_option_values.values_struct.current_freq_range, &i, &j);

	/* Scale displayed FFT depending on frequency and magnitude range */
	for (uint16_t len = 0; len < i; len++) {
		for (uint16_t current_val = 0; current_val < j; current_val++) {
			uint32_t index = len * j + current_val;
			fft_db_buff[index] = (int32_t)(20 * log10f(fft_mag_buff[len]));

			/* Draw black line */
			if (line_counter > 0) {
				ILI9341_DrawPixel(index, line_counter - 1, ILI9341_BLACK);
			}

			/* Draw line of spectrogram */
			if (index > 0 && fft_db_buff[index] == fft_db_buff[index - 1]) {
				ILI9341_DrawPixel(index, line_counter, ILI9341_COLOR565(r, g, b));
			} else {
				uint16_t h;
				h = 240 - 2 * (uint16_t)fft_db_buff[index];
				hsv_to_rgb(h, 100, 100, &r, &g, &b);
				ILI9341_DrawPixel(index, line_counter, ILI9341_COLOR565(r, g, b));
			}
		}
	}
}

/**
  * @brief  Display range of frequency
  * @param  freq_range: Range of frequency
  * @retval None
  */
void display_freq_range(uint16_t freq_range) {
	char s_freq_range[4];
	itoa(freq_range, s_freq_range, 10);
	ILI9341_WriteString(270, arrow_positions[0], "FREQ", Font_7x10, ILI9341_WHITE, ILI9341_BLACK);
	ILI9341_WriteString(270, arrow_positions[0] + 12, "RANGE", Font_7x10, ILI9341_WHITE, ILI9341_BLACK);
	ILI9341_WriteString(270, arrow_positions[0] + 24, s_freq_range, Font_7x10, ILI9341_WHITE, ILI9341_BLACK);
	ILI9341_WriteString(298, arrow_positions[0] + 24, " Hz", Font_7x10, ILI9341_WHITE, ILI9341_BLACK);
}
/**
  * @brief  Display range of magnitude
  * @param  mag_range: Range of magnitude
  * @retval None
  */
void display_mag_range(uint16_t mag_range) {
	char s_mag_range[4];
	itoa(mag_range, s_mag_range, 10);
	ILI9341_WriteString(270, arrow_positions[2], "MAG", Font_7x10, ILI9341_WHITE, ILI9341_BLACK);
	ILI9341_WriteString(270, arrow_positions[2] + 12, "RANGE", Font_7x10, ILI9341_WHITE, ILI9341_BLACK);
	ILI9341_WriteString(270, arrow_positions[2] + 24, s_mag_range, Font_7x10, ILI9341_WHITE, ILI9341_BLACK);
	ILI9341_WriteString(291, arrow_positions[2] + 24, " dB", Font_7x10, ILI9341_WHITE, ILI9341_BLACK);
}

/**
  * @brief       Calculate loop values used in scaling FFT and spectrogram
  * @param[in]   freq_range: Current frequency range
  * @param[out]  i: First loop value
  * @param[out]  j: Second loop value
  * @retval      None
  */
void calc_scale(uint8_t freq_range, uint16_t *i, uint16_t *j) {
	/* Depending on frequency range different loop values are used */
	switch (freq_range) {
		case 0:
			*i = FFT_MAG_BUFFER_SIZE / 32;
			*j = 16;
			break;
		case 1:
			*i = FFT_MAG_BUFFER_SIZE / 16;
			*j = 8;
			break;
		case 2:
			*i = FFT_MAG_BUFFER_SIZE / 8;
			*j = 4;
			break;
		case 3:
			*i = FFT_MAG_BUFFER_SIZE / 4;
			*j = 2;
			break;
		case 4:
			*i = FFT_MAG_BUFFER_SIZE / 2;
			*j = 1;
			break;
		default:
			break;
	}
}

/**
  * @brief       Convert colors in HSV to RGB
  * @param[in]   h: Hue of color
  * @param[in]   s: Saturation of color
  * @param[in]   v: Value of color
  * @param[out]  R: Red color value
  * @param[out]  G: Green color value
  * @param[out]  B: Blue color value
  * @retval      None
  */
void hsv_to_rgb(uint16_t h, uint8_t s, uint8_t v, uint16_t *R, uint16_t *G, uint16_t *B) {
	uint16_t c, m, x;

	/* Chroma */
    c = s * v / 10;
    /* An intermediate value used for computing the RGB model */
	x = c * (100 - abs(((h * 100 / 60) % 200) - 100)) / 100;
	/* RGB component with the smallest value */
	m = (v * 10) - c;

    switch((h / 60)) {
    	case 0:
            *R = c + m;
            *G = x + m;
            *B = m;
            break;
        case 1:
            *R = x + m;
            *G = c + m;
            *B = m;
            break;
        case 2:
        	*R = m;
            *G = c + m;
            *B = x + m;
            break;
        case 3:
        	*R = m;
            *G = x + m;
            *B = c + m;
            break;
        case 4:
            *R = x + m;
            *G = m;
            *B = c + m;
            break;
        case 5:
            *R = c + m;
            *G = m;
            *B = x + m;
            break;
    }
}

/**
  * @brief  Initialize the wave header file
  * @param  p_header: Header buffer to be filled
  * @param  p_wave_format: Pointer to the wave structure to be filled
  * @retval 0 if passed, !0 if failed
  */
uint32_t wave_process_header_init(uint8_t *p_header, WAV *p_wave_format) {
  /* Write chunkID, must be 'RIFF' */
  p_header[0] = 'R';
  p_header[1] = 'I';
  p_header[2] = 'F';
  p_header[3] = 'F';

  /* Write the file length */
  /* The sampling time: this value will be be written back at the end of the
     recording operation.  Example: 661500 Bytes = 0x000A17FC, byte[7]=0x00, byte[4]=0xFC */
  p_header[4] = 0x00;
  p_header[5] = 0x4C;
  p_header[6] = 0x1D;
  p_header[7] = 0x00;

  /* Write the file format, must be 'wave' */
  p_header[8]  = 'W';
  p_header[9]  = 'A';
  p_header[10] = 'V';
  p_header[11] = 'E';

  /* Write the format chunk, must be'fmt ' */
  p_header[12]  = 'f';
  p_header[13]  = 'm';
  p_header[14]  = 't';
  p_header[15]  = ' ';

  /* Write the length of the 'fmt' data, must be 0x10 */
  p_header[16]  = 0x10;
  p_header[17]  = 0x00;
  p_header[18]  = 0x00;
  p_header[19]  = 0x00;

  /* Write the audio format, must be 0x01 (PCM) */
  p_header[20]  = 0x01;
  p_header[21]  = 0x00;

  /* Write the number of channels, ie. 0x01 (Mono) */
  p_header[22]  = p_wave_format->nbr_channels;
  p_header[23]  = 0x00;

  /* Write the Sample Rate in Hz */
  /* Write Little Endian ie. 8000 = 0x00001F40 => byte[24]=0x40, byte[27]=0x00 */
  p_header[24]  = (uint8_t)((p_wave_format->sample_rate & 0xFF));
  p_header[25]  = (uint8_t)((p_wave_format->sample_rate >> 8) & 0xFF);
  p_header[26]  = (uint8_t)((p_wave_format->sample_rate >> 16) & 0xFF);
  p_header[27]  = (uint8_t)((p_wave_format->sample_rate >> 24) & 0xFF);

  /* Write the Byte Rate */
  p_header[28]  = (uint8_t)((p_wave_format->byte_rate & 0xFF));
  p_header[29]  = (uint8_t)((p_wave_format->byte_rate >> 8) & 0xFF);
  p_header[30]  = (uint8_t)((p_wave_format->byte_rate >> 16) & 0xFF);
  p_header[31]  = (uint8_t)((p_wave_format->byte_rate >> 24) & 0xFF);

  /* Write the block alignment */
  p_header[32]  = p_wave_format->block_align;
  p_header[33]  = 0x00;

  /* Write the number of bits per sample */
  p_header[34]  = p_wave_format->bit_per_sample;
  p_header[35]  = 0x00;

  /* Write the Data chunk, must be 'data' */
  p_header[36]  = 'd';
  p_header[37]  = 'a';
  p_header[38]  = 't';
  p_header[39]  = 'a';

  /* Write the number of sample data */
  /* This variable will be written back at the end of the recording operation */
  p_header[40]  = 0x00;
  p_header[41]  = 0x4C;
  p_header[42]  = 0x1D;
  p_header[43]  = 0x00;

  /* Return 0 if all operations are OK */
  return 0;
}

/**
  * @brief       Encoder of wave file initialization
  * @param[in]   freq: Sampling frequency
  * @param[out]  p_header: Pointer to the wave file header to be written
  * @retval      0 if success, !0 else
  */
uint32_t wave_process_enc_init(uint32_t freq, uint8_t* p_header) {
  /* Initialize the encoder structure */
  wave_format.sample_rate = freq;         /* Audio sampling frequency */
  wave_format.nbr_channels = 2;           /* Number of channels: 1:Mono or 2:Stereo */
  wave_format.bit_per_sample = 16;        /* Number of bits per sample (16, 24 or 32) */
  wave_format.file_size = 0x001D4C00;     /* Total length of useful audio data (payload) */
  wave_format.sub_chunk1_size = 44;       /* The file header chunk size */
  wave_format.byte_rate = (wave_format.sample_rate * \
                        (wave_format.bit_per_sample/8) * \
                         wave_format.nbr_channels);      /* Number of bytes per second  (sample rate * block align)  */
  wave_format.block_align = wave_format.nbr_channels * \
                         (wave_format.bit_per_sample/8); /* channels * bits/sample / 8 */

  /* Parse the wav file header and extract required information */
  if(wave_process_header_init(p_header, &wave_format))
  {
    return 1;
  }
  return 0;
}

/**
  * @brief       Initialize the wave header file
  * @param[out]  p_header: Header Buffer to be filled
  * @param[in]   total_bytes: Total bytes of wave file
  * @retval      0 if passed
  */
uint32_t wave_process_header_update(uint8_t* p_header, uint32_t total_bytes) {
  /* Write the file length */
  /* The sampling time: this value will be be written back at the end of the
     recording operation.  Example: 661500 Bytes = 0x000A17FC, byte[7]=0x00, byte[4]=0xFC */
  p_header[4] = (uint8_t)(total_bytes);
  p_header[5] = (uint8_t)(total_bytes >> 8);
  p_header[6] = (uint8_t)(total_bytes >> 16);
  p_header[7] = (uint8_t)(total_bytes >> 24);
  /* Write the number of sample data */
  /* This variable will be written back at the end of the recording operation */
  total_bytes -= 44;
  p_header[40] = (uint8_t)(total_bytes);
  p_header[41] = (uint8_t)(total_bytes >> 8);
  p_header[42] = (uint8_t)(total_bytes >> 16);
  p_header[43] = (uint8_t)(total_bytes >> 24);
  /* Return 0 if all operations are OK */
  return 0;
}
/* USER CODE END 4 */

void Error_Handler(void)
{
  __disable_irq();
  while (1)
  {
  }
}
